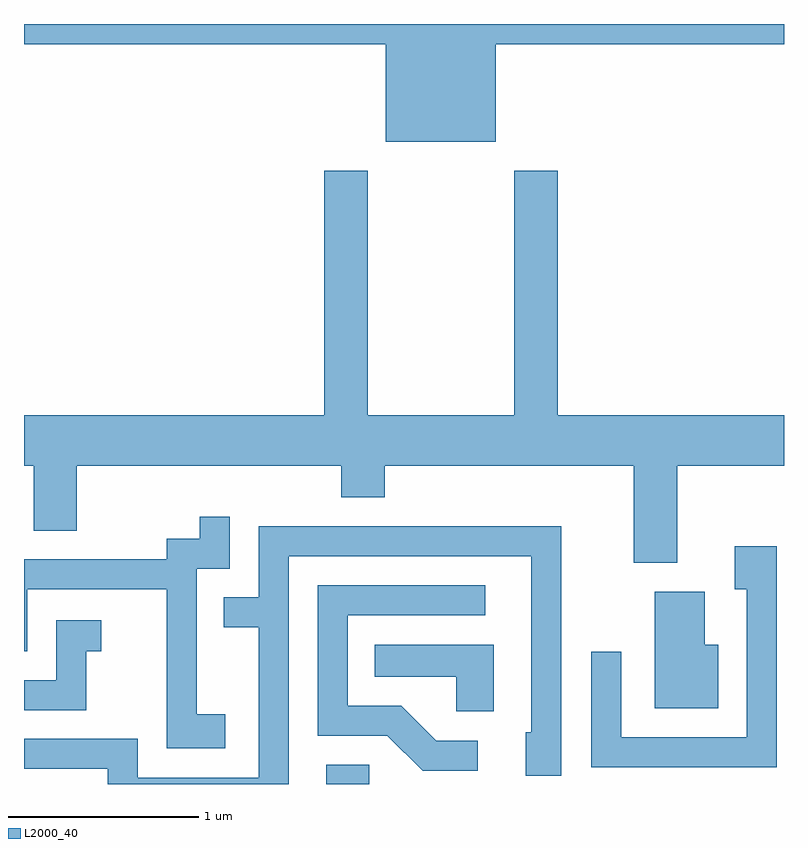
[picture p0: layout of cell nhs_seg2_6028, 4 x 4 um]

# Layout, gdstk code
import gdstk
lib = gdstk.Library(unit=1e-6, precision=1e-09)
def R(c, l, rs):  # rectangles x0, y0, x1, y1
    for r in rs: c.add(gdstk.rectangle(r[:2], r[2:], *l))
def P(c, l, *ps):  # polygons
    for p in ps: c.add(gdstk.Polygon(p, *l))
L2000_40 = (2000, 40)

nhs_seg2_6028 = lib.new_cell('nhs_seg2_6028')
R(nhs_seg2_6028, L2000_40, [(365.201,997.802,365.429,997.904)])
P(nhs_seg2_6028, L2000_40, [(366.094,1001.696),(367.611,1001.696),(367.611,1001.802),(363.611,1001.802),(363.611,1001.696),(365.516,1001.696),(365.516,1001.181),(366.094,1001.181)],
  [(367.049,999.476),(367.611,999.476),(367.611,999.744),(366.419,999.744),(366.419,1001.029),(366.191,1001.029),(366.191,999.744),(365.419,999.744),(365.419,1001.029),(365.191,1001.029),(365.191,999.744),(363.611,999.744),(363.611,999.476),(363.661,999.476),(363.661,999.136),(363.889,999.136),(363.889,999.476),(365.281,999.476),(365.281,999.311),(365.509,999.311),(365.509,999.476),(366.821,999.476),(366.821,998.966),(367.049,998.966)],
  [(364.669,998.169),(364.519,998.169),(364.519,998.936),(364.694,998.936),(364.694,999.208),(364.536,999.208),(364.536,999.094),(364.361,999.094),(364.361,998.984),(363.611,998.984),(363.611,998.501),(363.629,998.501),(363.629,998.826),(364.361,998.826),(364.361,997.991),(364.669,997.991)],
  [(365.004,999.001),(366.281,999.001),(366.281,998.074),(366.251,998.074),(366.251,997.846),(366.439,997.846),(366.439,999.159),(364.846,999.159),(364.846,998.784),(364.663,998.784),(364.663,998.626),(364.846,998.626),(364.846,997.834),(364.209,997.834),(364.209,998.039),(363.611,998.039),(363.611,997.881),(364.051,997.881),(364.051,997.802),(365.004,997.802)],
  [(367.574,999.054),(367.351,999.054),(367.351,998.826),(367.416,998.826),(367.416,998.049),(366.754,998.049),(366.754,998.498),(366.596,998.498),(366.596,997.891),(367.574,997.891)],
  [(365.998,998.029),(365.782,998.029),(365.597,998.214),(365.314,998.214),(365.314,998.691),(366.038,998.691),(366.038,998.849),(365.156,998.849),(365.156,998.056),(365.524,998.056),(365.709,997.871),(365.998,997.871)],
  [(367.264,998.534),(367.194,998.534),(367.194,998.814),(366.931,998.814),(366.931,998.201),(367.264,998.201)],
  [(363.939,998.501),(364.018,998.501),(364.018,998.664),(363.781,998.664),(363.781,998.349),(363.611,998.349),(363.611,998.191),(363.939,998.191)],
  [(366.084,998.534),(365.458,998.534),(365.458,998.366),(365.886,998.366),(365.886,998.186),(366.084,998.186)])

lib.write_gds('nhs_seg2_6028.gds')
